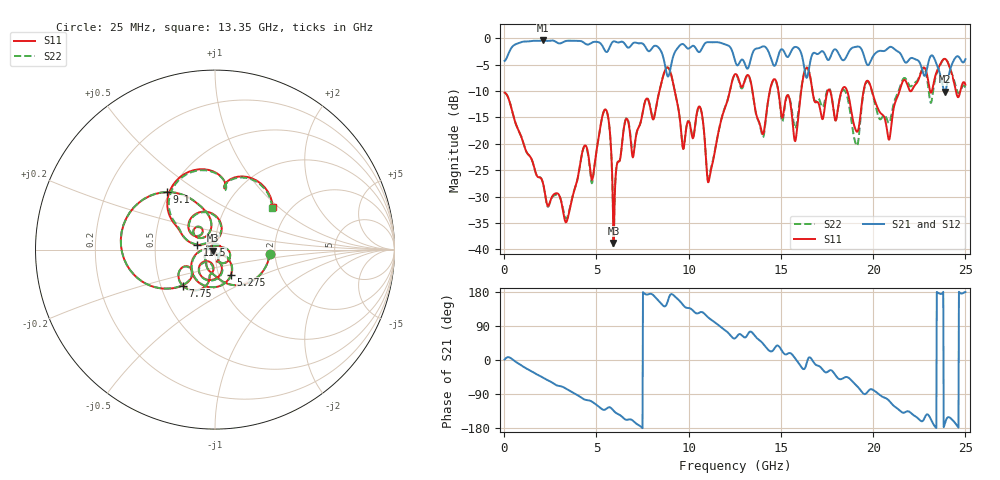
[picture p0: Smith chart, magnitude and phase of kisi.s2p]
! R_s4_lshape_n0: L-shaped planes (24 × 16 mm minus an 8 × 6 mm corner), via L1 → L4, no return via
! stackup: 4-layer 1.6 mm FR-4
! ports: 1 L1, 2 L4
! kisi-fdtd, conformal, dfine 0.07 mm, 660192 cells
# Hz S RI R 50
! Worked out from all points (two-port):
!   1000 points, 25 MHz to 25 GHz, reference 50 ohm
!   highest |S21| = -0.42 dB at 2.1 GHz (marker M1); lowest = -10.1 dB at 23.88 GHz (marker M2)
!   |S21| within 3 dB of the highest: 175.8 MHz to 8.609 GHz (8.433 GHz wide, 192 % of centre); 9.166 GHz to 12.45 GHz (3.283 GHz wide, 30.4 % of centre)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
!   lowest |S11| = -38.8 dB at 5.925 GHz (marker M3), VSWR 1.02, Z = 49 - j0.58 ohm
!   |S11| at or under -10 dB: start of sweep to 8.416 GHz; 9.245 GHz to 12.23 GHz (2.986 GHz wide, 27.8 % of centre); 19.94 GHz to 21.43 GHz (1.492 GHz wide, 7.21 % of centre)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
!   |S22| runs from -39.4 to -3.9 dB; largest |S21 - S12| = 1.7e-06
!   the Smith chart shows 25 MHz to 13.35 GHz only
!   S11 on the Smith chart (normalised r, x): 25 MHz: 1.87, -0.10; 5.275 GHz: 1.14, -0.33; 7.75 GHz: 0.65, -0.28; 9.1 GHz: 0.48, +0.37; 11.5 GHz: 0.82, +0.04; 13.35 GHz: 1.63, +0.92
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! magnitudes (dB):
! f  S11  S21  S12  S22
! 25 MHz  -10.3  -4.3  -4.3  -10.3
! 2.1 GHz  -27.4  -0.4  -0.4  -27.4
! 3.375 GHz  -34.8  -0.5  -0.5  -34.1
! 4.2 GHz  -22.2  -0.6  -0.6  -22.2
! 5.275 GHz  -15.5  -1.2  -1.2  -15.6
! 5.625 GHz  -14.7  -2.4  -2.4  -14.7
! 5.925 GHz  -38.8  -0.6  -0.6  -39.4
! 7.75 GHz  -11.4  -2.2  -2.2  -11.4
! 8.35 GHz  -11.0  -1.7  -1.7  -11.0
! 9.1 GHz  -7.6  -4.3  -4.3  -7.5
! 9.7 GHz  -21.0  -1.1  -1.1  -20.9
! 11.5 GHz  -19.8  -0.7  -0.7  -19.8
! 12.53 GHz  -6.8  -4.4  -4.4  -6.9
! 13.35 GHz  -8.0  -4.2  -4.2  -8.1
! 14 GHz  -18.1  -1.6  -1.6  -18.6
! 14.6 GHz  -7.8  -5.1  -5.1  -8.0
! 15.78 GHz  -19.5  -1.6  -1.6  -17.1
! 16.68 GHz  -9.1  -3.3  -3.3  -9.1
! 19.73 GHz  -8.1  -5.1  -5.1  -8.2
! 20.85 GHz  -19.2  -1.7  -1.7  -16.1
! 23.88 GHz  -3.9  -10.1  -10.1  -3.9
! 25 GHz  -8.8  -4.0  -4.0  -9.4
